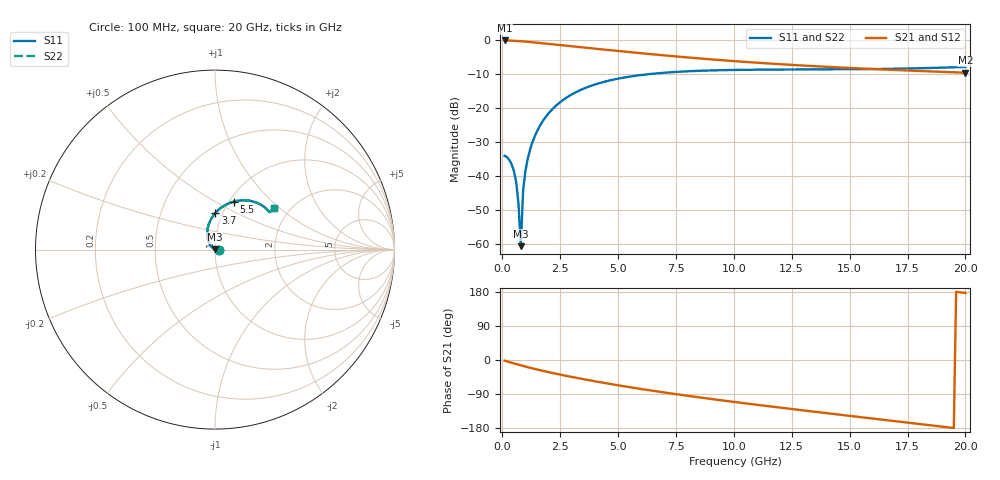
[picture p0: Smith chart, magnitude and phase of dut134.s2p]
! Touchstone file exported from HFSS 2023.1.0
!  File:  D:/Users/fzz/RDL_TSV/temp_RDL_TSV_134_1778751730.aedt
!  Generated:  5:55:47 %x4E0B%x5348  5%x6708 14, 2026
!  Design:  RDL_TSV
!  Project:  temp_RDL_TSV_134_1778751730
!  Setup:  Setup1
!  Solution:  Sweep
! Variables:
!  dtsv = 12.15um
!  hbump = 3um
!  htsv = 94.72um
!  ldown = 104.27um
!  lrdl = 449.93um
!  p = 40
!  p1 = 53.63um
!  rhole = 10um
!  subl = 2112.53um
!  t = 450um
!  tdown = 2.21um
!  trdl = 3.26um
!  viad = 10um
!  wdown = 16.52um
!  wrdl = 11.41um
!  xbump = 18um
# GHz S MA R 50.000000
! Terminal data exported
! Port[1] = TM1_1_T1
! Port[2] = TM1_4_T1
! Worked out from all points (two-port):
!   200 points, 100 MHz to 20 GHz, reference 50 ohm
!   highest |S21| = -0.18 dB at 100 MHz (marker M1); lowest = -9.7 dB at 20 GHz (marker M2)
!   |S21| within 3 dB of the highest: start of sweep to 4.864 GHz
!   lowest |S11| = -60.6 dB at 800 MHz (marker M3), VSWR 1.00, Z = 49.9 + j0.0603 ohm
!   |S11| at or under -10 dB: start of sweep to 6.433 GHz
!   |S22| runs from -60.8 to -8.0 dB; largest |S21 - S12| = 1.6e-14
!   S11 on the Smith chart (normalised r, x): 100 MHz: 1.04, -0.00; 3.7 GHz: 0.92, +0.39; 5.5 GHz: 1.05, +0.62; 20 GHz: 1.66, +0.91
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0.1  0.01986 -2.5  0.9793 -1.8  0.9793 -1.8  0.01986 -2.5
! Gamma 0 0 0 0
! Port Impedance 50 0 50 0
0.4  0.01493 -12.5  0.9724 -7.2  0.9724 -7.2  0.01496 -12.4
0.5  0.01187 -15.6  0.9687 -9.0  0.9687 -9.0  0.0119 -15.5
0.6  0.008176 -18.4  0.9644 -10.7  0.9644 -10.7  0.008209 -18.3
0.7  0.003907 -19.9  0.9595 -12.4  0.9595 -12.4  0.00394 -19.7
0.8  0.0009332 139.7  0.9541 -14.1  0.9541 -14.1  0.0009072 138.6
0.9  0.006203 148.4  0.9484 -15.8  0.9484 -15.8  0.006176 148.4
1  0.01193 146.4  0.9422 -17.4  0.9422 -17.4  0.01191 146.4
1.1  0.01805 143.8  0.9358 -19.0  0.9358 -19.0  0.01803 143.8
1.2  0.02452 141.1  0.9292 -20.5  0.9292 -20.5  0.0245 141.1
1.4  0.03828 135.7  0.9154 -23.6  0.9154 -23.6  0.03827 135.7
1.8  0.068 125.4  0.8867 -29.3  0.8867 -29.3  0.068 125.5
2.2  0.09879 116.2  0.8582 -34.7  0.8582 -34.7  0.0988 116.3
2.8  0.1438 104.2  0.817 -42.3  0.817 -42.3  0.1438 104.2
3.5  0.1912 92.4  0.7721 -50.6  0.7721 -50.6  0.1913 92.5
3.7  0.2035 89.5  0.7599 -52.9  0.7599 -52.9  0.2036 89.5
5.5  0.2883 68.3  0.6601 -71.8  0.6601 -71.8  0.2885 68.3
6.8  0.3248 57.6  0.5994 -84.0  0.5994 -84.0  0.325 57.7
10.1  0.3618 41.5  0.4845 -111.4  0.4845 -111.4  0.3621 41.5
13.4  0.367 35.3  0.4118 -135.9  0.4118 -135.9  0.3674 35.3
16.7  0.3751 34.5  0.3639 -159.5  0.3639 -159.5  0.3755 34.5
20  0.3994 35.2  0.329 177.0  0.329 177.0  0.3997 35.2
